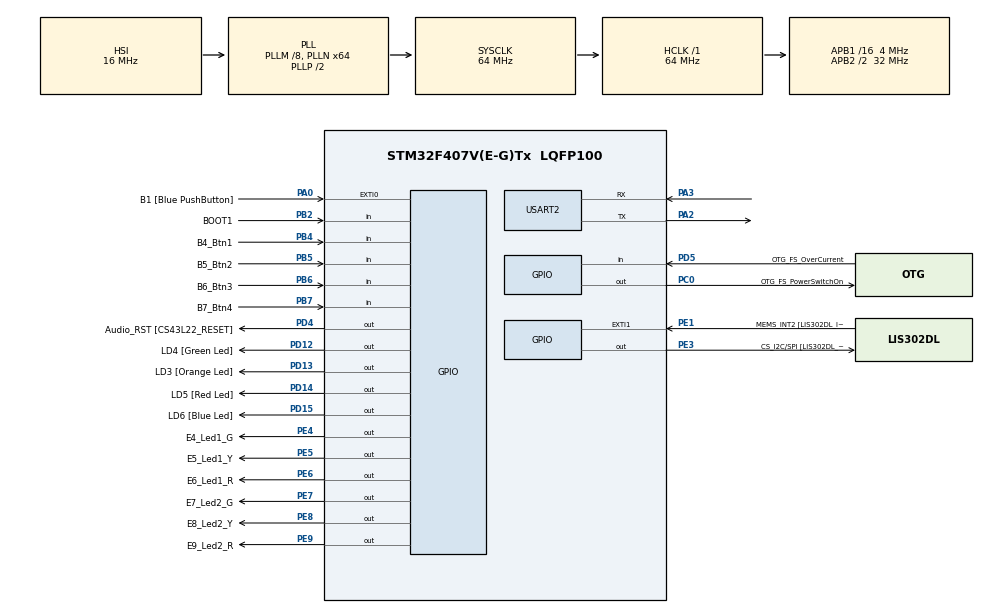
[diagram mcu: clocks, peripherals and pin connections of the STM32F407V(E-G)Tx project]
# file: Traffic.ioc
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Mcu.Family=STM32F4
Mcu.Name=STM32F407V(E-G)Tx
Mcu.Package=LQFP100
NVIC.PriorityGroup=NVIC_PRIORITYGROUP_0
NVIC.TIM2_IRQn=true\:0\:0\:false\:false\:true\:true\:true\:true
NVIC.USART2_IRQn=true\:0\:0\:false\:false\:true\:true\:true\:true
PA0-WKUP.GPIO_Label=B1 [Blue PushButton]
PA0-WKUP.Signal=GPXTI0
PA10.GPIO_Label=OTG_FS_ID
PA10.GPIO_Mode=GPIO_MODE_AF_PP
PA10.GPIO_PuPd=GPIO_NOPULL
PA10.GPIO_Speed=GPIO_SPEED_FREQ_LOW
PA10.Signal=USB_OTG_FS_ID
PA11.GPIO_Label=OTG_FS_DM
PA11.GPIO_Mode=GPIO_MODE_AF_PP
PA11.GPIO_PuPd=GPIO_NOPULL
PA11.GPIO_Speed=GPIO_SPEED_FREQ_LOW
PA11.Signal=USB_OTG_FS_DM
PA12.GPIO_Label=OTG_FS_DP
PA12.GPIO_Mode=GPIO_MODE_AF_PP
PA12.GPIO_PuPd=GPIO_NOPULL
PA12.GPIO_Speed=GPIO_SPEED_FREQ_LOW
PA12.Signal=USB_OTG_FS_DP
PA13.GPIO_Label=SWDIO
PA13.Mode=Serial_Wire
PA13.Signal=SYS_JTMS-SWDIO
PA14.GPIO_Label=SWCLK
PA14.Mode=Serial_Wire
PA14.Signal=SYS_JTCK-SWCLK
PA2.Mode=Asynchronous
PA2.Signal=USART2_TX
PA3.Mode=Asynchronous
PA3.Signal=USART2_RX
PA4.GPIO_Label=I2S3_WS [CS43L22_LRCK]
PA4.GPIO_Mode=GPIO_MODE_AF_PP
PA4.GPIO_PuPd=GPIO_NOPULL
PA4.GPIO_Speed=GPIO_SPEED_FREQ_LOW
PA4.Signal=I2S3_WS
PA5.GPIO_Label=SPI1_SCK [LIS302DL_SCL/SPC]
PA5.GPIO_Mode=GPIO_MODE_AF_PP
PA5.GPIO_PuPd=GPIO_NOPULL
PA5.GPIO_Speed=GPIO_SPEED_FREQ_LOW
PA5.Signal=SPI1_SCK
PA6.GPIO_Label=SPI1_MISO [LIS302DL_SDO]
PA6.GPIO_Mode=GPIO_MODE_AF_PP
PA6.GPIO_PuPd=GPIO_NOPULL
PA6.GPIO_Speed=GPIO_SPEED_FREQ_LOW
PA6.Signal=SPI1_MISO
PA7.GPIO_Label=SPI1_MOSI [LIS302DL_SDA/SDI/SDO]
PA7.GPIO_Mode=GPIO_MODE_AF_PP
PA7.GPIO_PuPd=GPIO_NOPULL
PA7.GPIO_Speed=GPIO_SPEED_FREQ_LOW
PA7.Signal=SPI1_MOSI
PA9.GPIO_Label=VBUS_FS
PA9.GPIO_Mode=GPIO_MODE_INPUT
PA9.GPIO_PuPd=GPIO_NOPULL
PA9.Signal=USB_OTG_FS_VBUS
PB10.GPIO_Label=CLK_IN [MP45DT02_CLK]
PB10.GPIO_Mode=GPIO_MODE_AF_PP
PB10.GPIO_PuPd=GPIO_NOPULL
PB10.GPIO_Speed=GPIO_SPEED_FREQ_LOW
PB10.Signal=I2S2_CK
PB2.GPIO_Label=BOOT1
PB2.GPIO_Mode=GPIO_MODE_INPUT
PB2.GPIO_PuPd=GPIO_NOPULL
PB2.Signal=GPIO_Input
PB3.GPIO_Label=SWO
PB3.Signal=SYS_JTDO-SWO
PB4.GPIO_Label=B4_Btn1
PB4.Signal=GPIO_Input
PB5.GPIO_Label=B5_Btn2
PB5.Signal=GPIO_Input
PB6.GPIO_Label=B6_Btn3
PB6.Signal=GPIO_Input
PB7.GPIO_Label=B7_Btn4
PB7.Signal=GPIO_Input
PB9.GPIO_Label=Audio_SDA [CS43L22_SDA]
PB9.GPIO_Mode=GPIO_MODE_AF_OD
PB9.GPIO_PuPd=GPIO_NOPULL
PB9.GPIO_Speed=GPIO_SPEED_FREQ_LOW
PB9.Signal=I2C1_SDA
PC0.GPIO_Label=OTG_FS_PowerSwitchOn
PC0.GPIO_PuPd=GPIO_NOPULL
PC0.GPIO_Speed=GPIO_SPEED_FREQ_LOW
PC0.PinState=GPIO_PIN_SET
PC0.Signal=GPIO_Output
PC10.GPIO_Label=I2S3_SCK [CS43L22_SCLK]
PC10.GPIO_Mode=GPIO_MODE_AF_PP
PC10.GPIO_PuPd=GPIO_NOPULL
PC10.GPIO_Speed=GPIO_SPEED_FREQ_LOW
PC10.Signal=I2S3_CK
PC12.GPIO_Label=I2S3_SD [CS43L22_SDIN]
PC12.GPIO_Mode=GPIO_MODE_AF_PP
PC12.GPIO_PuPd=GPIO_NOPULL
PC12.GPIO_Speed=GPIO_SPEED_FREQ_LOW
PC12.Signal=I2S3_SD
PC14-OSC32_IN.GPIO_Label=PC14-OSC32_IN
PC14-OSC32_IN.Signal=RCC_OSC32_IN
PC15-OSC32_OUT.GPIO_Label=PC15-OSC32_OUT
PC15-OSC32_OUT.Signal=RCC_OSC32_OUT
PC3.GPIO_Label=PDM_OUT [MP45DT02_DOUT]
PC3.GPIO_Mode=GPIO_MODE_AF_PP
PC3.GPIO_PuPd=GPIO_NOPULL
PC3.GPIO_Speed=GPIO_SPEED_FREQ_LOW
PC3.Signal=I2S2_SD
PC7.GPIO_Label=I2S3_MCK [CS43L22_MCLK]
PC7.GPIO_Mode=GPIO_MODE_AF_PP
PC7.GPIO_PuPd=GPIO_NOPULL
PC7.GPIO_Speed=GPIO_SPEED_FREQ_LOW
PC7.Signal=I2S3_MCK
PD12.GPIO_Label=LD4 [Green Led]
PD12.GPIO_PuPd=GPIO_NOPULL
PD12.GPIO_Speed=GPIO_SPEED_FREQ_LOW
PD12.Signal=GPIO_Output
PD13.GPIO_Label=LD3 [Orange Led]
PD13.GPIO_PuPd=GPIO_NOPULL
PD13.GPIO_Speed=GPIO_SPEED_FREQ_LOW
PD13.Signal=GPIO_Output
PD14.GPIO_Label=LD5 [Red Led]
PD14.GPIO_PuPd=GPIO_NOPULL
PD14.GPIO_Speed=GPIO_SPEED_FREQ_LOW
PD14.Signal=GPIO_Output
PD15.GPIO_Label=LD6 [Blue Led]
PD15.GPIO_PuPd=GPIO_NOPULL
PD15.GPIO_Speed=GPIO_SPEED_FREQ_LOW
PD15.Signal=GPIO_Output
PD4.GPIO_Label=Audio_RST [CS43L22_RESET]
PD4.GPIO_PuPd=GPIO_NOPULL
PD4.GPIO_Speed=GPIO_SPEED_FREQ_LOW
PD4.Signal=GPIO_Output
PD5.GPIO_Label=OTG_FS_OverCurrent
PD5.GPIO_Mode=GPIO_MODE_INPUT
PD5.GPIO_PuPd=GPIO_NOPULL
PD5.Signal=GPIO_Input
PE1.GPIO_Label=MEMS_INT2 [LIS302DL_INT2]
PE1.GPIO_ModeDefaultEXTI=GPIO_MODE_EVT_RISING
PE1.GPIO_PuPd=GPIO_NOPULL
PE1.Signal=GPXTI1
PE3.GPIO_Label=CS_I2C/SPI [LIS302DL_CS_I2C/SPI]
PE3.GPIO_PuPd=GPIO_NOPULL
PE3.GPIO_Speed=GPIO_SPEED_FREQ_LOW
PE3.Signal=GPIO_Output
PE4.GPIO_Label=E4_Led1_G
PE4.Signal=GPIO_Output
PE5.GPIO_Label=E5_Led1_Y
PE5.Signal=GPIO_Output
PE6.GPIO_Label=E6_Led1_R
PE6.Signal=GPIO_Output
PE7.GPIO_Label=E7_Led2_G
PE7.Signal=GPIO_Output
PE8.GPIO_Label=E8_Led2_Y
PE8.Signal=GPIO_Output
PE9.GPIO_Label=E9_Led2_R
PE9.Signal=GPIO_Output
PH0-OSC_IN.GPIO_Label=PH0-OSC_IN
PH0-OSC_IN.Signal=RCC_OSC_IN
PH1-OSC_OUT.GPIO_Label=PH1-OSC_OUT
PH1-OSC_OUT.Signal=RCC_OSC_OUT
ProjectManager.HeapSize=0x200
ProjectManager.StackSize=0x400
ProjectManager.TargetToolchain=STM32CubeIDE
RCC.48MHZClocksFreq_Value=18285714.285714287
RCC.AHBFreq_Value=64000000
RCC.APB1CLKDivider=RCC_HCLK_DIV16
RCC.APB1Freq_Value=4000000
RCC.APB1TimFreq_Value=8000000
RCC.APB2CLKDivider=RCC_HCLK_DIV2
RCC.APB2Freq_Value=32000000
RCC.APB2TimFreq_Value=64000000
RCC.CortexFreq_Value=64000000
RCC.HCLKFreq_Value=64000000
RCC.HSE_VALUE=8000000
RCC.HSI_VALUE=16000000
RCC.LSE_VALUE=32768
RCC.PLLM=8
RCC.PLLN=64
RCC.PLLQ=7
RCC.SYSCLKFreq_VALUE=64000000
RCC.SYSCLKSource=RCC_SYSCLKSOURCE_PLLCLK
RCC.VCOOutputFreq_Value=128000000
TIM2.Period=10-1
TIM2.Prescaler=8000-1
USART2.VirtualMode=VM_ASYNC
VP_TIM2_VS_ClockSourceINT.Mode=Internal
board=STM32F407G-DISC1

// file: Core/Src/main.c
/* USER CODE BEGIN Header */
/**
  ******************************************************************************
  * @file           : main.c
  * @brief          : Main program body
  ******************************************************************************
  * @attention
  *
  * Copyright (c) 2024 STMicroelectronics.
  * All rights reserved.
  *
  * This software is licensed under terms that can be found in the LICENSE file
  * in the root directory of this software component.
  * If no LICENSE file comes with this software, it is provided AS-IS.
  *
  ******************************************************************************
  */
/* USER CODE END Header */
#include "main.h"

/* USER CODE BEGIN Includes */
#include "stdio.h"
/* USER CODE END Includes */

TIM_HandleTypeDef htim2;

UART_HandleTypeDef huart2;

void SystemClock_Config(void);
static void MX_GPIO_Init(void);
static void MX_TIM2_Init(void);
static void MX_USART2_UART_Init(void);

/* USER CODE BEGIN 0 */
uint8_t Rx_data[11];
void HAL_UART_RxCpltCallback(UART_HandleTypeDef *huart)
{
	if(Rx_data[0] == 'G'){
		sscanf((char*)Rx_data, "G%d R%d Y%d", &T_GREEN, &T_RED, &T_YELLOW);
	}
	Rx_data[0] = '\0';
	HAL_UART_Receive_IT(&huart2, Rx_data, sizeof(Rx_data));
}
/* USER CODE END 0 */

int main(void)
{

  /* MCU Configuration--------------------------------------------------------*/

  /* Reset of all peripherals, Initializes the Flash interface and the Systick. */
  HAL_Init();

  /* Configure the system clock */
  SystemClock_Config();

  /* Initialize all configured peripherals */
  MX_GPIO_Init();
  MX_TIM2_Init();
  MX_USART2_UART_Init();
  /* USER CODE BEGIN 2 */
//  exti_config_wake();
//  sleep_enter();

  HAL_TIM_Base_Start_IT(&htim2);
  HAL_UART_Receive_IT (&huart2, Rx_data, sizeof(Rx_data));

  SCH_Add_Task(timer_run, 0, 1);
  SCH_Add_Task(button_reading, 0, 1);
  SCH_Add_Task(fsm_automatic, 0, 1);
  SCH_Add_Task(fsm_red_manual, 0, 1);
  SCH_Add_Task(fsm_amber_manual, 0, 1);
  SCH_Add_Task(fsm_green_manual, 0, 1);
  SCH_Add_Task(fsm_button_processing, 0, 1);

  //put SCH_Dispatch_Tasks(); in while loop
  /* USER CODE END 2 */

  /* Infinite loop */
  while (1)
  {
	  SCH_Dispatch_Tasks();
  }
}

void SystemClock_Config(void)
{
  RCC_OscInitTypeDef RCC_OscInitStruct = {0};
  RCC_ClkInitTypeDef RCC_ClkInitStruct = {0};

  /** Configure the main internal regulator output voltage
  */
  __HAL_RCC_PWR_CLK_ENABLE();
  __HAL_PWR_VOLTAGESCALING_CONFIG(PWR_REGULATOR_VOLTAGE_SCALE1);

  /** Initializes the RCC Oscillators according to the specified parameters
  * in the RCC_OscInitTypeDef structure.
  */
  RCC_OscInitStruct.OscillatorType = RCC_OSCILLATORTYPE_HSI;
  RCC_OscInitStruct.HSIState = RCC_HSI_ON;
  RCC_OscInitStruct.HSICalibrationValue = RCC_HSICALIBRATION_DEFAULT;
  RCC_OscInitStruct.PLL.PLLState = RCC_PLL_ON;
  RCC_OscInitStruct.PLL.PLLSource = RCC_PLLSOURCE_HSI;
  RCC_OscInitStruct.PLL.PLLM = 8;
  RCC_OscInitStruct.PLL.PLLN = 64;
  RCC_OscInitStruct.PLL.PLLP = RCC_PLLP_DIV2;
  RCC_OscInitStruct.PLL.PLLQ = 7;
  if (HAL_RCC_OscConfig(&RCC_OscInitStruct) != HAL_OK)
  {
    Error_Handler();
  }

  /** Initializes the CPU, AHB and APB buses clocks
  */
  RCC_ClkInitStruct.ClockType = RCC_CLOCKTYPE_HCLK|RCC_CLOCKTYPE_SYSCLK
                              |RCC_CLOCKTYPE_PCLK1|RCC_CLOCKTYPE_PCLK2;
  RCC_ClkInitStruct.SYSCLKSource = RCC_SYSCLKSOURCE_PLLCLK;
  RCC_ClkInitStruct.AHBCLKDivider = RCC_SYSCLK_DIV1;
  RCC_ClkInitStruct.APB1CLKDivider = RCC_HCLK_DIV16;
  RCC_ClkInitStruct.APB2CLKDivider = RCC_HCLK_DIV2;

  if (HAL_RCC_ClockConfig(&RCC_ClkInitStruct, FLASH_LATENCY_2) != HAL_OK)
  {
    Error_Handler();
  }
}

static void MX_TIM2_Init(void)
{

  TIM_ClockConfigTypeDef sClockSourceConfig = {0};
  TIM_MasterConfigTypeDef sMasterConfig = {0};

  htim2.Instance = TIM2;
  htim2.Init.Prescaler = 8000-1;
  htim2.Init.CounterMode = TIM_COUNTERMODE_UP;
  htim2.Init.Period = 10-1;
  htim2.Init.ClockDivision = TIM_CLOCKDIVISION_DIV1;
  htim2.Init.AutoReloadPreload = TIM_AUTORELOAD_PRELOAD_DISABLE;
  if (HAL_TIM_Base_Init(&htim2) != HAL_OK)
  {
    Error_Handler();
  }
  sClockSourceConfig.ClockSource = TIM_CLOCKSOURCE_INTERNAL;
  if (HAL_TIM_ConfigClockSource(&htim2, &sClockSourceConfig) != HAL_OK)
  {
    Error_Handler();
  }
  sMasterConfig.MasterOutputTrigger = TIM_TRGO_RESET;
  sMasterConfig.MasterSlaveMode = TIM_MASTERSLAVEMODE_DISABLE;
  if (HAL_TIMEx_MasterConfigSynchronization(&htim2, &sMasterConfig) != HAL_OK)
  {
    Error_Handler();
  }

}

static void MX_USART2_UART_Init(void)
{

  huart2.Instance = USART2;
  huart2.Init.BaudRate = 115200;
  huart2.Init.WordLength = UART_WORDLENGTH_8B;
  huart2.Init.StopBits = UART_STOPBITS_1;
  huart2.Init.Parity = UART_PARITY_NONE;
  huart2.Init.Mode = UART_MODE_TX_RX;
  huart2.Init.HwFlowCtl = UART_HWCONTROL_NONE;
  huart2.Init.OverSampling = UART_OVERSAMPLING_16;
  if (HAL_UART_Init(&huart2) != HAL_OK)
  {
    Error_Handler();
  }

}

static void MX_GPIO_Init(void)
{
  GPIO_InitTypeDef GPIO_InitStruct = {0};

  /* GPIO Ports Clock Enable */
  __HAL_RCC_GPIOE_CLK_ENABLE();
  __HAL_RCC_GPIOC_CLK_ENABLE();
  __HAL_RCC_GPIOH_CLK_ENABLE();
  __HAL_RCC_GPIOA_CLK_ENABLE();
  __HAL_RCC_GPIOB_CLK_ENABLE();
  __HAL_RCC_GPIOD_CLK_ENABLE();

  /*Configure GPIO pin Output Level */
  HAL_GPIO_WritePin(GPIOE, CS_I2C_SPI_Pin|E4_Led1_G_Pin|E5_Led1_Y_Pin|E6_Led1_R_Pin
                          |E7_Led2_G_Pin|E8_Led2_Y_Pin|E9_Led2_R_Pin, GPIO_PIN_RESET);

  /*Configure GPIO pin Output Level */
  HAL_GPIO_WritePin(OTG_FS_PowerSwitchOn_GPIO_Port, OTG_FS_PowerSwitchOn_Pin, GPIO_PIN_SET);

  /*Configure GPIO pin Output Level */
  HAL_GPIO_WritePin(GPIOD, LD4_Pin|LD3_Pin|LD5_Pin|LD6_Pin
                          |Audio_RST_Pin, GPIO_PIN_RESET);

  /*Configure GPIO pins : CS_I2C_SPI_Pin E4_Led1_G_Pin E5_Led1_Y_Pin E6_Led1_R_Pin
                           E7_Led2_G_Pin E8_Led2_Y_Pin E9_Led2_R_Pin */
  GPIO_InitStruct.Pin = CS_I2C_SPI_Pin|E4_Led1_G_Pin|E5_Led1_Y_Pin|E6_Led1_R_Pin
                          |E7_Led2_G_Pin|E8_Led2_Y_Pin|E9_Led2_R_Pin;
  GPIO_InitStruct.Mode = GPIO_MODE_OUTPUT_PP;
  GPIO_InitStruct.Pull = GPIO_NOPULL;
  GPIO_InitStruct.Speed = GPIO_SPEED_FREQ_LOW;
  HAL_GPIO_Init(GPIOE, &GPIO_InitStruct);

  /*Configure GPIO pin : OTG_FS_PowerSwitchOn_Pin */
  GPIO_InitStruct.Pin = OTG_FS_PowerSwitchOn_Pin;
  GPIO_InitStruct.Mode = GPIO_MODE_OUTPUT_PP;
  GPIO_InitStruct.Pull = GPIO_NOPULL;
  GPIO_InitStruct.Speed = GPIO_SPEED_FREQ_LOW;
  HAL_GPIO_Init(OTG_FS_PowerSwitchOn_GPIO_Port, &GPIO_InitStruct);

  /*Configure GPIO pin : PDM_OUT_Pin */
  GPIO_InitStruct.Pin = PDM_OUT_Pin;
  GPIO_InitStruct.Mode = GPIO_MODE_AF_PP;
  GPIO_InitStruct.Pull = GPIO_NOPULL;
  GPIO_InitStruct.Speed = GPIO_SPEED_FREQ_LOW;
  GPIO_InitStruct.Alternate = GPIO_AF5_SPI2;
  HAL_GPIO_Init(PDM_OUT_GPIO_Port, &GPIO_InitStruct);

  /*Configure GPIO pin : B1_Pin */
  GPIO_InitStruct.Pin = B1_Pin;
  GPIO_InitStruct.Mode = GPIO_MODE_IT_RISING;
  GPIO_InitStruct.Pull = GPIO_NOPULL;
  HAL_GPIO_Init(B1_GPIO_Port, &GPIO_InitStruct);

  /*Configure GPIO pin : I2S3_WS_Pin */
  GPIO_InitStruct.Pin = I2S3_WS_Pin;
  GPIO_InitStruct.Mode = GPIO_MODE_AF_PP;
  GPIO_InitStruct.Pull = GPIO_NOPULL;
  GPIO_InitStruct.Speed = GPIO_SPEED_FREQ_LOW;
  GPIO_InitStruct.Alternate = GPIO_AF6_SPI3;
  HAL_GPIO_Init(I2S3_WS_GPIO_Port, &GPIO_InitStruct);

  /*Configure GPIO pins : SPI1_SCK_Pin SPI1_MISO_Pin SPI1_MOSI_Pin */
  GPIO_InitStruct.Pin = SPI1_SCK_Pin|SPI1_MISO_Pin|SPI1_MOSI_Pin;
  GPIO_InitStruct.Mode = GPIO_MODE_AF_PP;
  GPIO_InitStruct.Pull = GPIO_NOPULL;
  GPIO_InitStruct.Speed = GPIO_SPEED_FREQ_LOW;
  GPIO_InitStruct.Alternate = GPIO_AF5_SPI1;
  HAL_GPIO_Init(GPIOA, &GPIO_InitStruct);

  /*Configure GPIO pins : BOOT1_Pin B4_Btn1_Pin B5_Btn2_Pin B6_Btn3_Pin
                           B7_Btn4_Pin */
  GPIO_InitStruct.Pin = BOOT1_Pin|B4_Btn1_Pin|B5_Btn2_Pin|B6_Btn3_Pin
                          |B7_Btn4_Pin;
  GPIO_InitStruct.Mode = GPIO_MODE_INPUT;
  GPIO_InitStruct.Pull = GPIO_NOPULL;
  HAL_GPIO_Init(GPIOB, &GPIO_InitStruct);

  /*Configure GPIO pin : CLK_IN_Pin */
  GPIO_InitStruct.Pin = CLK_IN_Pin;
  GPIO_InitStruct.Mode = GPIO_MODE_AF_PP;
  GPIO_InitStruct.Pull = GPIO_NOPULL;
  GPIO_InitStruct.Speed = GPIO_SPEED_FREQ_LOW;
  GPIO_InitStruct.Alternate = GPIO_AF5_SPI2;
  HAL_GPIO_Init(CLK_IN_GPIO_Port, &GPIO_InitStruct);

  /*Configure GPIO pins : LD4_Pin LD3_Pin LD5_Pin LD6_Pin
                           Audio_RST_Pin */
  GPIO_InitStruct.Pin = LD4_Pin|LD3_Pin|LD5_Pin|LD6_Pin
                          |Audio_RST_Pin;
  GPIO_InitStruct.Mode = GPIO_MODE_OUTPUT_PP;
  GPIO_InitStruct.Pull = GPIO_NOPULL;
  GPIO_InitStruct.Speed = GPIO_SPEED_FREQ_LOW;
  HAL_GPIO_Init(GPIOD, &GPIO_InitStruct);

  /*Configure GPIO pins : I2S3_MCK_Pin I2S3_SCK_Pin I2S3_SD_Pin */
  GPIO_InitStruct.Pin = I2S3_MCK_Pin|I2S3_SCK_Pin|I2S3_SD_Pin;
  GPIO_InitStruct.Mode = GPIO_MODE_AF_PP;
  GPIO_InitStruct.Pull = GPIO_NOPULL;
  GPIO_InitStruct.Speed = GPIO_SPEED_FREQ_LOW;
  GPIO_InitStruct.Alternate = GPIO_AF6_SPI3;
  HAL_GPIO_Init(GPIOC, &GPIO_InitStruct);

  /*Configure GPIO pin : VBUS_FS_Pin */
  GPIO_InitStruct.Pin = VBUS_FS_Pin;
  GPIO_InitStruct.Mode = GPIO_MODE_INPUT;
  GPIO_InitStruct.Pull = GPIO_NOPULL;
  HAL_GPIO_Init(VBUS_FS_GPIO_Port, &GPIO_InitStruct);

  /*Configure GPIO pins : OTG_FS_ID_Pin OTG_FS_DM_Pin OTG_FS_DP_Pin */
  GPIO_InitStruct.Pin = OTG_FS_ID_Pin|OTG_FS_DM_Pin|OTG_FS_DP_Pin;
  GPIO_InitStruct.Mode = GPIO_MODE_AF_PP;
  GPIO_InitStruct.Pull = GPIO_NOPULL;
  GPIO_InitStruct.Speed = GPIO_SPEED_FREQ_LOW;
  GPIO_InitStruct.Alternate = GPIO_AF10_OTG_FS;
  HAL_GPIO_Init(GPIOA, &GPIO_InitStruct);

  /*Configure GPIO pin : OTG_FS_OverCurrent_Pin */
  GPIO_InitStruct.Pin = OTG_FS_OverCurrent_Pin;
  GPIO_InitStruct.Mode = GPIO_MODE_INPUT;
  GPIO_InitStruct.Pull = GPIO_NOPULL;
  HAL_GPIO_Init(OTG_FS_OverCurrent_GPIO_Port, &GPIO_InitStruct);

  /*Configure GPIO pin : Audio_SDA_Pin */
  GPIO_InitStruct.Pin = Audio_SDA_Pin;
  GPIO_InitStruct.Mode = GPIO_MODE_AF_OD;
  GPIO_InitStruct.Pull = GPIO_NOPULL;
  GPIO_InitStruct.Speed = GPIO_SPEED_FREQ_LOW;
  GPIO_InitStruct.Alternate = GPIO_AF4_I2C1;
  HAL_GPIO_Init(Audio_SDA_GPIO_Port, &GPIO_InitStruct);

  /*Configure GPIO pin : MEMS_INT2_Pin */
  GPIO_InitStruct.Pin = MEMS_INT2_Pin;
  GPIO_InitStruct.Mode = GPIO_MODE_EVT_RISING;
  GPIO_InitStruct.Pull = GPIO_NOPULL;
  HAL_GPIO_Init(MEMS_INT2_GPIO_Port, &GPIO_InitStruct);

}

/* USER CODE BEGIN 4 */
void HAL_TIM_PeriodElapsedCallback(TIM_HandleTypeDef *htim2) {
	SCH_Update();
}
/* USER CODE END 4 */

void Error_Handler(void)
{
  __disable_irq();
  while (1)
  {
  }
}
